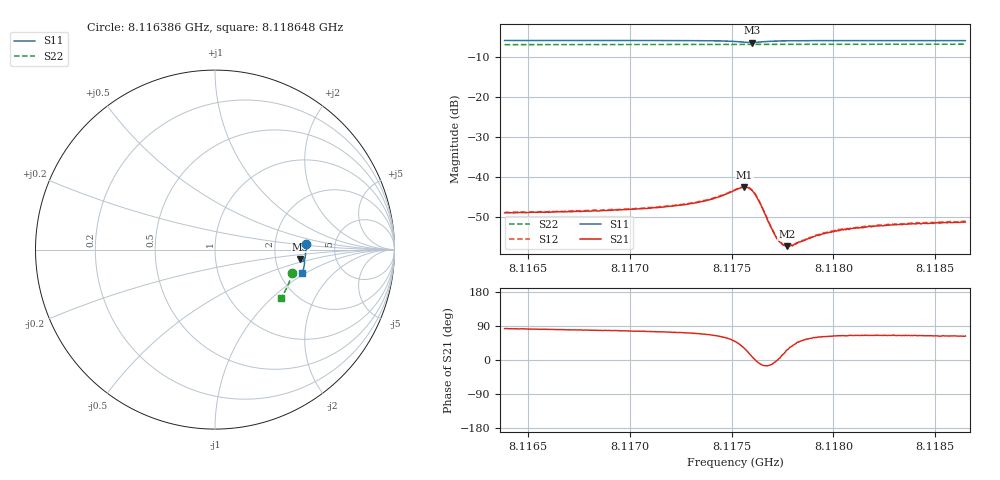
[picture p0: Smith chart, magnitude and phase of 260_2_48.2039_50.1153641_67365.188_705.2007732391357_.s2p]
#  HZ  S  RI  R  50.00
! Rohde & Schwarz Vector Network Analyzer
! Rohde-Schwarz,ZNB20-2Port,1311601062101988,3.16
! Created: UTC 3/20/2024, 11:47:43 AM
! freq[Hz]  re:S11  im:S11  re:S21  im:S21  re:S12  im:S12  re:S22  im:S22
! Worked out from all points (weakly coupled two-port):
!   401 points, 8.116386 GHz to 8.118648 GHz, reference 50 ohm
!   highest |S21| = -42.53 dB at 8.117562 GHz (marker M1); lowest = -57.2 dB at 8.117771 GHz (marker M2)
!   lowest |S11| = -6.4 dB at 8.117602 GHz (marker M3), VSWR 2.83, Z = 138 - j18.9 ohm
!   |S11| at or under -10 dB: nowhere
!   |S22| runs from -6.9 to -6.8 dB; largest |S21 - S12| = 0.00019
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8.1163857e9  0.506 0.0297  0.000452 0.00354  0.00051 0.0036  0.4307 -0.128
8.1167647e9  0.5065 0.000654  0.000694 0.00367  0.000771 0.00372  0.4236 -0.1533
8.1171436e9  0.5045 -0.0293  0.00113 0.00403  0.00116 0.00409  0.4149 -0.1782
8.1172737e9  0.5028 -0.0404  0.00144 0.00431  0.00151 0.00438  0.4114 -0.1868
8.1173642e9  0.5008 -0.0488  0.00184 0.00464  0.00196 0.00472  0.4089 -0.1926
8.1174433e9  0.497 -0.0571  0.00265 0.00507  0.00275 0.00518  0.4065 -0.1976
8.1175169e9  0.4883 -0.0644  0.0045 0.0052  0.0046 0.00521  0.4041 -0.2023
8.1175621e9  0.4783 -0.063  0.00638 0.00389  0.00656 0.0039  0.4024 -0.2048
8.1175847e9  0.4746 -0.0578  0.00693 0.00227  0.00708 0.00229  0.4018 -0.2059
8.1176017e9  0.4746 -0.0527  0.00667 0.000962  0.0068 0.00088  0.4013 -0.2067
8.11763e9  0.48 -0.0467  0.00521 -0.000567  0.00533 -0.00066  0.4009 -0.2082
8.1176922e9  0.4929 -0.0496  0.00233 -0.000532  0.00241 -0.000554  0.3997 -0.2124
8.1177205e9  0.4956 -0.0533  0.00174 -6.75e-05  0.00176 -0.000103  0.3987 -0.2142
8.1177431e9  0.497 -0.0564  0.00148 0.000244  0.00153 0.00023  0.3982 -0.2157
8.1177601e9  0.4976 -0.0585  0.00133 0.000444  0.00133 0.000443  0.3977 -0.2168
8.1177714e9  0.4979 -0.0599  0.00123 0.000613  0.00128 0.0006  0.3974 -0.2177
8.1178053e9  0.4987 -0.0636  0.00109 0.000921  0.00114 0.000923  0.3963 -0.2198
8.1178958e9  0.4988 -0.0728  0.000951 0.00149  0.000977 0.0015  0.3933 -0.2256
8.1179524e9  0.4984 -0.0781  0.00093 0.00173  0.000971 0.00178  0.3917 -0.2291
8.1180372e9  0.4974 -0.0852  0.000967 0.00198  0.000983 0.00201  0.3889 -0.2343
8.1182747e9  0.494 -0.1039  0.00106 0.00228  0.00112 0.00232  0.3806 -0.2488
8.118648e9  0.4871 -0.1316  0.00123 0.00245  0.0013 0.00249  0.3665 -0.2708
